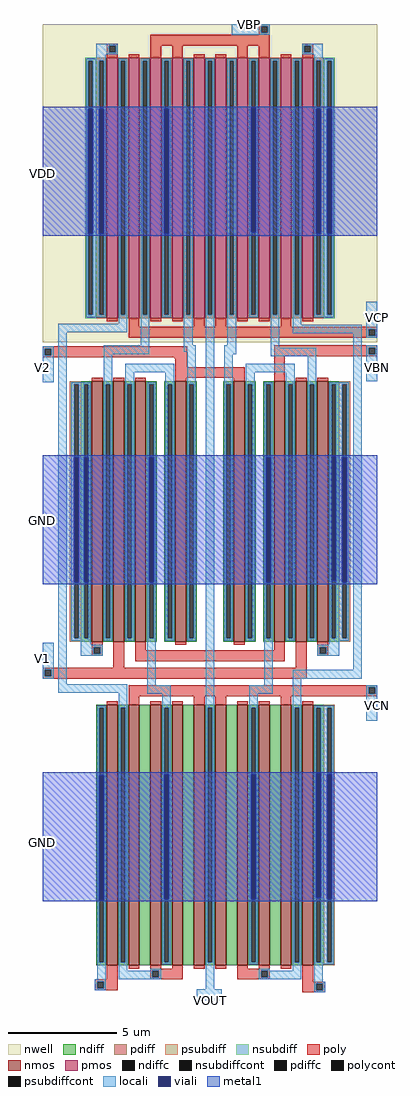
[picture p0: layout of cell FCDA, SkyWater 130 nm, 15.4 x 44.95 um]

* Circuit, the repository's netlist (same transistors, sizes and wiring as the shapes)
* NGSPICE file created from FCDA.ext - technology: sky130A


* Top level circuit FCDA

X0 a_n1660_1840# VBN GND GND sky130_fd_pr__nfet_01v8 ad=3 pd=12.5 as=6 ps=25 w=12 l=0.5
X1 a_n2230_4820# VBP VDD VDD sky130_fd_pr__pfet_01v8 ad=3 pd=12.5 as=3 ps=12.5 w=12 l=0.5
X2 VOUT VCN a_n2230_n1140# GND sky130_fd_pr__nfet_01v8 ad=3 pd=12.5 as=3 ps=12.5 w=12 l=0.5
X3 a_n2970_1840# VCP a_n2830_n1140# VDD sky130_fd_pr__pfet_01v8 ad=3 pd=12.5 as=3 ps=12.5 w=12 l=0.5
X4 GND GND a_n1730_n1270# GND sky130_fd_pr__nfet_01v8 ad=6 pd=25 as=3 ps=12.5 w=12 l=0.5
X5 a_n1730_n1270# VCP a_n1430_4820# VDD sky130_fd_pr__pfet_01v8 ad=3 pd=12.5 as=3 ps=12.5 w=12 l=0.5
X6 VDD VBP a_n1860_1840# VDD sky130_fd_pr__pfet_01v8 ad=3 pd=12.5 as=3 ps=12.5 w=12 l=0.5
X7 a_n2970_1840# GND GND GND sky130_fd_pr__nfet_01v8 ad=3 pd=12.5 as=6 ps=25 w=12 l=0.5
X8 a_n2770_1840# V1 a_n2970_1840# GND sky130_fd_pr__nfet_01v8 ad=3 pd=12.5 as=3 ps=12.5 w=12 l=0.5
X9 a_n2830_n1140# GND GND GND sky130_fd_pr__nfet_01v8 ad=3 pd=12.5 as=6 ps=25 w=12 l=0.5
X10 a_n1830_n1140# VCN VOUT GND sky130_fd_pr__nfet_01v8 ad=3 pd=12.5 as=3 ps=12.5 w=12 l=0.5
X11 a_n2630_n1140# VCN a_n2830_n1140# GND sky130_fd_pr__nfet_01v8 ad=3 pd=12.5 as=3 ps=12.5 w=12 l=0.5
X12 VOUT VCP a_n2230_4820# VDD sky130_fd_pr__pfet_01v8 ad=3 pd=12.5 as=3 ps=12.5 w=12 l=0.5
X13 a_n1430_4820# V1 a_n1660_1840# GND sky130_fd_pr__nfet_01v8 ad=3 pd=12.5 as=3 ps=12.5 w=12 l=0.5
X14 GND a_n1730_n1270# a_n1830_n1140# GND sky130_fd_pr__nfet_01v8 ad=3 pd=12.5 as=3 ps=12.5 w=12 l=0.5
X15 VDD VBP a_n2970_1840# VDD sky130_fd_pr__pfet_01v8 ad=3 pd=12.5 as=3 ps=12.5 w=12 l=0.5
X16 a_n2830_n1140# VDD VDD VDD sky130_fd_pr__pfet_01v8 ad=3 pd=12.5 as=6 ps=25 w=12 l=0.5
X17 VDD VDD a_n1730_n1270# VDD sky130_fd_pr__pfet_01v8 ad=6 pd=25 as=3 ps=12.5 w=12 l=0.5
X18 a_n1430_4820# VBP VDD VDD sky130_fd_pr__pfet_01v8 ad=3 pd=12.5 as=3 ps=12.5 w=12 l=0.5
X19 a_n1860_1840# VCP VOUT VDD sky130_fd_pr__pfet_01v8 ad=3 pd=12.5 as=3 ps=12.5 w=12 l=0.5
X20 GND a_n2830_n1140# a_n2630_n1140# GND sky130_fd_pr__nfet_01v8 ad=3 pd=12.5 as=3 ps=12.5 w=12 l=0.5
X21 a_n1430_n1140# a_n1730_n1270# GND GND sky130_fd_pr__nfet_01v8 ad=3 pd=12.5 as=3 ps=12.5 w=12 l=0.5
X22 GND VBN a_n2770_1840# GND sky130_fd_pr__nfet_01v8 ad=6 pd=25 as=3 ps=12.5 w=12 l=0.5
X23 a_n2230_n1140# a_n2830_n1140# GND GND sky130_fd_pr__nfet_01v8 ad=3 pd=12.5 as=3 ps=12.5 w=12 l=0.5
X24 a_n2230_4820# V2 a_n2770_1840# GND sky130_fd_pr__nfet_01v8 ad=6 pd=25 as=6 ps=25 w=12 l=0.5
X25 a_n1730_n1270# VCN a_n1430_n1140# GND sky130_fd_pr__nfet_01v8 ad=3 pd=12.5 as=3 ps=12.5 w=12 l=0.5
X26 a_n1660_1840# V2 a_n1860_1840# GND sky130_fd_pr__nfet_01v8 ad=6 pd=25 as=6 ps=25 w=12 l=0.5
X27 GND GND a_n1430_4820# GND sky130_fd_pr__nfet_01v8 ad=6 pd=25 as=3 ps=12.5 w=12 l=0.5
.end

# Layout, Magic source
magic
tech sky130A
<< nwell >>
rect -1760 2300 -220 3765
<< nmos >>
rect -1535 920 -1485 2120
rect -1435 920 -1385 2120
rect -1335 920 -1285 2120
rect -1150 920 -1100 2120
rect -880 920 -830 2120
rect -695 920 -645 2120
rect -595 920 -545 2120
rect -495 920 -445 2120
rect -1465 -570 -1415 630
rect -1365 -570 -1315 630
rect -1265 -570 -1215 630
rect -1165 -570 -1115 630
rect -1065 -570 -1015 630
rect -965 -570 -915 630
rect -865 -570 -815 630
rect -765 -570 -715 630
rect -665 -570 -615 630
rect -565 -570 -515 630
<< pmos >>
rect -1465 2410 -1415 3610
rect -1365 2410 -1315 3610
rect -1265 2410 -1215 3610
rect -1165 2410 -1115 3610
rect -1065 2410 -1015 3610
rect -965 2410 -915 3610
rect -865 2410 -815 3610
rect -765 2410 -715 3610
rect -665 2410 -615 3610
rect -565 2410 -515 3610
<< ndiff >>
rect -1585 2105 -1535 2120
rect -1585 935 -1570 2105
rect -1550 935 -1535 2105
rect -1585 920 -1535 935
rect -1485 2105 -1435 2120
rect -1485 935 -1470 2105
rect -1450 935 -1435 2105
rect -1485 920 -1435 935
rect -1385 2105 -1335 2120
rect -1385 935 -1370 2105
rect -1350 935 -1335 2105
rect -1385 920 -1335 935
rect -1285 2105 -1235 2120
rect -1285 935 -1270 2105
rect -1250 935 -1235 2105
rect -1285 920 -1235 935
rect -1200 2105 -1150 2120
rect -1200 935 -1185 2105
rect -1165 935 -1150 2105
rect -1200 920 -1150 935
rect -1100 2105 -1050 2120
rect -1100 935 -1085 2105
rect -1065 935 -1050 2105
rect -1100 920 -1050 935
rect -930 2105 -880 2120
rect -930 935 -915 2105
rect -895 935 -880 2105
rect -930 920 -880 935
rect -830 2105 -780 2120
rect -830 935 -815 2105
rect -795 935 -780 2105
rect -830 920 -780 935
rect -745 2105 -695 2120
rect -745 935 -730 2105
rect -710 935 -695 2105
rect -745 920 -695 935
rect -645 2105 -595 2120
rect -645 935 -630 2105
rect -610 935 -595 2105
rect -645 920 -595 935
rect -545 2105 -495 2120
rect -545 935 -530 2105
rect -510 935 -495 2105
rect -545 920 -495 935
rect -445 2105 -395 2120
rect -445 935 -430 2105
rect -410 935 -395 2105
rect -445 920 -395 935
rect -1515 615 -1465 630
rect -1515 -555 -1500 615
rect -1480 -555 -1465 615
rect -1515 -570 -1465 -555
rect -1415 615 -1365 630
rect -1415 -555 -1400 615
rect -1380 -555 -1365 615
rect -1415 -570 -1365 -555
rect -1315 -570 -1265 630
rect -1215 615 -1165 630
rect -1215 -555 -1200 615
rect -1180 -555 -1165 615
rect -1215 -570 -1165 -555
rect -1115 -570 -1065 630
rect -1015 615 -965 630
rect -1015 -555 -1000 615
rect -980 -555 -965 615
rect -1015 -570 -965 -555
rect -915 -570 -865 630
rect -815 615 -765 630
rect -815 -555 -800 615
rect -780 -555 -765 615
rect -815 -570 -765 -555
rect -715 -570 -665 630
rect -615 615 -565 630
rect -615 -555 -600 615
rect -580 -555 -565 615
rect -615 -570 -565 -555
rect -515 615 -465 630
rect -515 -555 -500 615
rect -480 -555 -465 615
rect -515 -570 -465 -555
<< pdiff >>
rect -1515 3595 -1465 3610
rect -1515 2425 -1500 3595
rect -1480 2425 -1465 3595
rect -1515 2410 -1465 2425
rect -1415 3595 -1365 3610
rect -1415 2425 -1400 3595
rect -1380 2425 -1365 3595
rect -1415 2410 -1365 2425
rect -1315 3595 -1265 3610
rect -1315 2425 -1300 3595
rect -1280 2425 -1265 3595
rect -1315 2410 -1265 2425
rect -1215 3595 -1165 3610
rect -1215 2425 -1200 3595
rect -1180 2425 -1165 3595
rect -1215 2410 -1165 2425
rect -1115 3595 -1065 3610
rect -1115 2425 -1100 3595
rect -1080 2425 -1065 3595
rect -1115 2410 -1065 2425
rect -1015 3595 -965 3610
rect -1015 2425 -1000 3595
rect -980 2425 -965 3595
rect -1015 2410 -965 2425
rect -915 3595 -865 3610
rect -915 2425 -900 3595
rect -880 2425 -865 3595
rect -915 2410 -865 2425
rect -815 3595 -765 3610
rect -815 2425 -800 3595
rect -780 2425 -765 3595
rect -815 2410 -765 2425
rect -715 3595 -665 3610
rect -715 2425 -700 3595
rect -680 2425 -665 3595
rect -715 2410 -665 2425
rect -615 3595 -565 3610
rect -615 2425 -600 3595
rect -580 2425 -565 3595
rect -615 2410 -565 2425
rect -515 3595 -465 3610
rect -515 2425 -500 3595
rect -480 2425 -465 3595
rect -515 2410 -465 2425
<< ndiffc >>
rect -1570 935 -1550 2105
rect -1470 935 -1450 2105
rect -1370 935 -1350 2105
rect -1270 935 -1250 2105
rect -1185 935 -1165 2105
rect -1085 935 -1065 2105
rect -915 935 -895 2105
rect -815 935 -795 2105
rect -730 935 -710 2105
rect -630 935 -610 2105
rect -530 935 -510 2105
rect -430 935 -410 2105
rect -1500 -555 -1480 615
rect -1400 -555 -1380 615
rect -1200 -555 -1180 615
rect -1000 -555 -980 615
rect -800 -555 -780 615
rect -600 -555 -580 615
rect -500 -555 -480 615
<< pdiffc >>
rect -1500 2425 -1480 3595
rect -1400 2425 -1380 3595
rect -1300 2425 -1280 3595
rect -1200 2425 -1180 3595
rect -1100 2425 -1080 3595
rect -1000 2425 -980 3595
rect -900 2425 -880 3595
rect -800 2425 -780 3595
rect -700 2425 -680 3595
rect -600 2425 -580 3595
rect -500 2425 -480 3595
<< psubdiff >>
rect -1635 2105 -1585 2120
rect -1635 935 -1615 2105
rect -1595 935 -1585 2105
rect -1635 920 -1585 935
rect -395 2105 -345 2120
rect -395 935 -380 2105
rect -360 935 -345 2105
rect -395 920 -345 935
rect -465 615 -415 630
rect -465 -555 -450 615
rect -430 -555 -415 615
rect -465 -570 -415 -555
<< nsubdiff >>
rect -1565 3595 -1515 3610
rect -1565 2425 -1550 3595
rect -1530 2425 -1515 3595
rect -1565 2410 -1515 2425
rect -465 3595 -415 3610
rect -465 2425 -450 3595
rect -430 2425 -415 3595
rect -465 2410 -415 2425
<< psubdiffcont >>
rect -1615 935 -1595 2105
rect -380 935 -360 2105
rect -450 -555 -430 615
<< nsubdiffcont >>
rect -1550 2425 -1530 3595
rect -450 2425 -430 3595
<< poly >>
rect -765 3755 -715 3765
rect -765 3725 -755 3755
rect -725 3725 -715 3755
rect -765 3715 -715 3725
rect -1465 3665 -1415 3675
rect -1465 3635 -1455 3665
rect -1425 3635 -1415 3665
rect -1465 3610 -1415 3635
rect -1265 3665 -715 3715
rect -1365 3610 -1315 3625
rect -1265 3610 -1215 3665
rect -1165 3610 -1115 3665
rect -1065 3610 -1015 3625
rect -965 3610 -915 3625
rect -865 3610 -815 3665
rect -765 3610 -715 3665
rect -565 3665 -515 3675
rect -565 3635 -555 3665
rect -525 3635 -515 3665
rect -665 3610 -615 3625
rect -565 3610 -515 3635
rect -1465 2395 -1415 2410
rect -1365 2370 -1315 2410
rect -1265 2395 -1215 2410
rect -1165 2395 -1115 2410
rect -1065 2370 -1015 2410
rect -965 2370 -915 2410
rect -865 2395 -815 2410
rect -765 2395 -715 2410
rect -665 2370 -615 2410
rect -565 2395 -515 2410
rect -1365 2360 -220 2370
rect -1365 2330 -260 2360
rect -230 2330 -220 2360
rect -1365 2320 -220 2330
rect -1760 2270 -1095 2280
rect -1760 2240 -1750 2270
rect -1720 2240 -1095 2270
rect -1760 2230 -1095 2240
rect -1155 2225 -1095 2230
rect -1150 2185 -1095 2225
rect -695 2275 -220 2285
rect -695 2245 -260 2275
rect -230 2245 -220 2275
rect -695 2235 -220 2245
rect -1150 2135 -830 2185
rect -1535 2120 -1485 2135
rect -1435 2120 -1385 2135
rect -1335 2120 -1285 2135
rect -1150 2120 -1100 2135
rect -880 2120 -830 2135
rect -695 2120 -645 2235
rect -595 2120 -545 2135
rect -495 2120 -445 2135
rect -1535 895 -1485 920
rect -1535 865 -1525 895
rect -1495 865 -1485 895
rect -1535 855 -1485 865
rect -1435 800 -1385 920
rect -1335 880 -1285 920
rect -1150 905 -1100 920
rect -880 905 -830 920
rect -695 880 -645 920
rect -1335 830 -645 880
rect -595 800 -545 920
rect -495 895 -445 920
rect -495 865 -485 895
rect -455 865 -445 895
rect -495 855 -445 865
rect -1760 790 -545 800
rect -1760 760 -1750 790
rect -1720 760 -545 790
rect -1760 750 -545 760
rect -1365 710 -220 720
rect -1365 680 -260 710
rect -230 680 -220 710
rect -1365 670 -220 680
rect -1465 630 -1415 645
rect -1365 630 -1315 670
rect -1265 630 -1215 645
rect -1165 630 -1115 645
rect -1065 630 -1015 670
rect -965 630 -915 670
rect -865 630 -815 645
rect -765 630 -715 645
rect -665 630 -615 670
rect -565 630 -515 645
rect -1465 -635 -1415 -570
rect -1365 -585 -1315 -570
rect -1265 -585 -1215 -570
rect -1165 -585 -1115 -570
rect -1065 -585 -1015 -570
rect -965 -585 -915 -570
rect -865 -585 -815 -570
rect -765 -585 -715 -570
rect -665 -585 -615 -570
rect -1265 -595 -1115 -585
rect -1265 -625 -1255 -595
rect -1225 -625 -1115 -595
rect -1265 -635 -1115 -625
rect -865 -595 -715 -585
rect -865 -625 -755 -595
rect -725 -625 -715 -595
rect -865 -635 -715 -625
rect -1520 -645 -1415 -635
rect -1520 -675 -1510 -645
rect -1480 -675 -1415 -645
rect -1520 -685 -1415 -675
rect -565 -645 -515 -570
rect -565 -655 -460 -645
rect -565 -685 -500 -655
rect -470 -685 -460 -655
rect -565 -695 -460 -685
<< polycont >>
rect -755 3725 -725 3755
rect -1455 3635 -1425 3665
rect -555 3635 -525 3665
rect -260 2330 -230 2360
rect -1750 2240 -1720 2270
rect -260 2245 -230 2275
rect -1525 865 -1495 895
rect -485 865 -455 895
rect -1750 760 -1720 790
rect -260 680 -230 710
rect -1255 -625 -1225 -595
rect -755 -625 -725 -595
rect -1510 -675 -1480 -645
rect -500 -685 -470 -655
<< locali >>
rect -890 3755 -715 3765
rect -890 3725 -755 3755
rect -725 3725 -715 3755
rect -890 3715 -715 3725
rect -1515 3665 -1415 3675
rect -1515 3635 -1455 3665
rect -1425 3635 -1415 3665
rect -1515 3625 -1415 3635
rect -565 3665 -470 3675
rect -565 3635 -555 3665
rect -525 3635 -470 3665
rect -565 3625 -470 3635
rect -1515 3605 -1470 3625
rect -510 3605 -470 3625
rect -1560 3595 -1470 3605
rect -1560 2425 -1550 3595
rect -1530 2425 -1500 3595
rect -1480 2425 -1470 3595
rect -1560 2415 -1470 2425
rect -1410 3595 -1370 3605
rect -1410 2425 -1400 3595
rect -1380 2425 -1370 3595
rect -1410 2385 -1370 2425
rect -1690 2345 -1370 2385
rect -1310 3595 -1270 3605
rect -1310 2425 -1300 3595
rect -1280 2425 -1270 3595
rect -1760 2270 -1710 2280
rect -1760 2240 -1750 2270
rect -1720 2240 -1710 2270
rect -1760 2115 -1710 2240
rect -1760 790 -1710 915
rect -1760 760 -1750 790
rect -1720 760 -1710 790
rect -1760 750 -1710 760
rect -1690 725 -1650 2345
rect -1310 2285 -1270 2425
rect -1210 3595 -1170 3605
rect -1210 2425 -1200 3595
rect -1180 2425 -1170 3595
rect -1210 2415 -1170 2425
rect -1110 3595 -1070 3605
rect -1110 2425 -1100 3595
rect -1080 2425 -1070 3595
rect -1480 2245 -1270 2285
rect -1110 2285 -1070 2425
rect -1010 3595 -970 3605
rect -1010 2425 -1000 3595
rect -980 2425 -970 3595
rect -1110 2255 -1055 2285
rect -1630 2105 -1540 2115
rect -1630 935 -1615 2105
rect -1595 935 -1570 2105
rect -1550 935 -1540 2105
rect -1630 925 -1540 935
rect -1480 2105 -1440 2245
rect -1480 935 -1470 2105
rect -1450 935 -1440 2105
rect -1480 925 -1440 935
rect -1380 2160 -1155 2200
rect -1380 2105 -1340 2160
rect -1380 935 -1370 2105
rect -1350 935 -1340 2105
rect -1380 925 -1340 935
rect -1280 2105 -1240 2115
rect -1280 935 -1270 2105
rect -1250 935 -1240 2105
rect -1585 905 -1540 925
rect -1585 895 -1485 905
rect -1585 865 -1525 895
rect -1495 865 -1485 895
rect -1585 855 -1485 865
rect -1690 685 -1370 725
rect -1510 615 -1470 625
rect -1510 -555 -1500 615
rect -1480 -555 -1470 615
rect -1510 -635 -1470 -555
rect -1410 615 -1370 685
rect -1280 720 -1240 935
rect -1195 2105 -1155 2160
rect -1195 935 -1185 2105
rect -1165 935 -1155 2105
rect -1195 925 -1155 935
rect -1095 2105 -1055 2255
rect -1095 935 -1085 2105
rect -1065 935 -1055 2105
rect -1095 925 -1055 935
rect -1280 680 -1170 720
rect -1410 -555 -1400 615
rect -1380 -555 -1370 615
rect -1410 -595 -1370 -555
rect -1210 615 -1170 680
rect -1210 -555 -1200 615
rect -1180 -555 -1170 615
rect -1210 -565 -1170 -555
rect -1010 615 -970 2425
rect -910 3595 -870 3605
rect -910 2425 -900 3595
rect -880 2425 -870 3595
rect -910 2285 -870 2425
rect -810 3595 -770 3605
rect -810 2425 -800 3595
rect -780 2425 -770 3595
rect -810 2415 -770 2425
rect -710 3595 -670 3605
rect -710 2425 -700 3595
rect -680 2425 -670 3595
rect -925 2245 -870 2285
rect -710 2275 -670 2425
rect -610 3595 -570 3605
rect -610 2425 -600 3595
rect -580 2425 -570 3595
rect -610 2380 -570 2425
rect -510 3595 -420 3605
rect -510 2425 -500 3595
rect -480 2425 -450 3595
rect -430 2425 -420 3595
rect -510 2415 -420 2425
rect -610 2340 -290 2380
rect -925 2105 -885 2245
rect -710 2235 -500 2275
rect -925 935 -915 2105
rect -895 935 -885 2105
rect -925 925 -885 935
rect -825 2160 -600 2200
rect -825 2105 -785 2160
rect -825 935 -815 2105
rect -795 935 -785 2105
rect -825 925 -785 935
rect -740 2105 -700 2115
rect -740 935 -730 2105
rect -710 935 -700 2105
rect -740 720 -700 935
rect -640 2105 -600 2160
rect -640 935 -630 2105
rect -610 935 -600 2105
rect -640 925 -600 935
rect -540 2105 -500 2235
rect -540 935 -530 2105
rect -510 935 -500 2105
rect -540 925 -500 935
rect -440 2105 -350 2115
rect -440 935 -430 2105
rect -410 935 -380 2105
rect -360 935 -350 2105
rect -440 925 -350 935
rect -440 905 -395 925
rect -495 895 -395 905
rect -495 865 -485 895
rect -455 865 -395 895
rect -495 855 -395 865
rect -330 790 -290 2340
rect -270 2360 -220 2485
rect -270 2330 -260 2360
rect -230 2330 -220 2360
rect -270 2320 -220 2330
rect -270 2275 -220 2285
rect -270 2245 -260 2275
rect -230 2245 -220 2275
rect -270 2120 -220 2245
rect -1010 -555 -1000 615
rect -980 -555 -970 615
rect -1265 -595 -1215 -585
rect -1410 -625 -1255 -595
rect -1225 -625 -1215 -595
rect -1410 -635 -1215 -625
rect -1520 -645 -1470 -635
rect -1520 -675 -1510 -645
rect -1480 -675 -1470 -645
rect -1520 -685 -1470 -675
rect -1010 -680 -970 -555
rect -810 680 -700 720
rect -610 750 -290 790
rect -810 615 -770 680
rect -810 -555 -800 615
rect -780 -555 -770 615
rect -810 -565 -770 -555
rect -610 615 -570 750
rect -270 710 -220 720
rect -270 680 -260 710
rect -230 680 -220 710
rect -610 -555 -600 615
rect -580 -555 -570 615
rect -765 -595 -715 -585
rect -610 -595 -570 -555
rect -765 -625 -755 -595
rect -725 -625 -570 -595
rect -765 -635 -570 -625
rect -510 615 -420 625
rect -510 -555 -500 615
rect -480 -555 -450 615
rect -430 -555 -420 615
rect -270 555 -220 680
rect -510 -565 -420 -555
rect -510 -645 -470 -565
rect -510 -655 -460 -645
rect -1050 -730 -935 -680
rect -510 -685 -500 -655
rect -470 -685 -460 -655
rect -510 -695 -460 -685
<< viali >>
rect -1550 2800 -1530 3375
rect -1500 2800 -1480 3375
rect -1200 2800 -1180 3375
rect -1615 1195 -1595 1770
rect -1570 1195 -1550 1770
rect -1270 1195 -1250 1770
rect -1500 -270 -1480 305
rect -1200 -265 -1180 310
rect -800 2805 -780 3380
rect -500 2800 -480 3375
rect -450 2800 -430 3375
rect -730 1195 -710 1770
rect -430 1200 -410 1775
rect -380 1195 -360 1770
rect -800 -265 -780 310
rect -500 -260 -480 315
rect -450 -265 -430 310
<< metal1 >>
rect -1760 3380 -220 3385
rect -1760 3375 -800 3380
rect -1760 2800 -1550 3375
rect -1530 2800 -1500 3375
rect -1480 2800 -1200 3375
rect -1180 2805 -800 3375
rect -780 3375 -220 3380
rect -780 2805 -500 3375
rect -1180 2800 -500 2805
rect -480 2800 -450 3375
rect -430 2800 -220 3375
rect -1760 2790 -220 2800
rect -1760 1775 -220 1780
rect -1760 1770 -430 1775
rect -1760 1195 -1615 1770
rect -1595 1195 -1570 1770
rect -1550 1195 -1270 1770
rect -1250 1195 -730 1770
rect -710 1200 -430 1770
rect -410 1770 -220 1775
rect -410 1200 -380 1770
rect -710 1195 -380 1200
rect -360 1195 -220 1770
rect -1760 1185 -220 1195
rect -1760 315 -220 320
rect -1760 310 -500 315
rect -1760 305 -1200 310
rect -1760 -270 -1500 305
rect -1480 -265 -1200 305
rect -1180 -265 -800 310
rect -780 -260 -500 310
rect -480 310 -220 315
rect -480 -260 -450 310
rect -780 -265 -450 -260
rect -430 -265 -220 310
rect -1480 -270 -220 -265
rect -1760 -275 -220 -270
<< labels >>
rlabel locali -810 3765 -810 3765 1 VBP
rlabel metal1 -1760 3075 -1760 3075 7 VDD
rlabel locali -1760 2185 -1760 2185 7 V2
rlabel metal1 -1760 1480 -1760 1480 7 GND
rlabel locali -1760 845 -1760 845 7 V1
rlabel metal1 -1760 -5 -1760 -5 7 GND
rlabel locali -990 -730 -990 -730 5 VOUT
rlabel locali -220 625 -220 625 3 VCN
rlabel locali -220 2185 -220 2185 3 VBN
rlabel locali -220 2415 -220 2415 3 VCP
<< end >>
